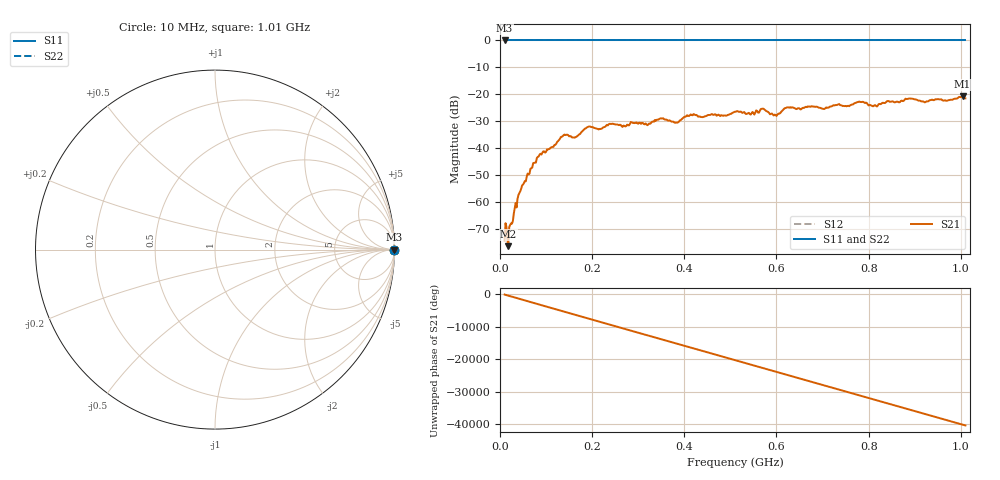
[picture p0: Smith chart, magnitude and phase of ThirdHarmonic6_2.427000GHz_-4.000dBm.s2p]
! 8/17/2025 4:10:36 AM
! C:\ANRITSUVNA\TEMP\TEMP.S2P
! CHANNEL.1
! TR.MEASUREMENT
! RAW.DATA
! RF.CORRECTION.OFF
! AVERAGING.OFF
! IF.BANDWIDTH: 5KHZ
! SWEEPTYPE:  FREQ.SWEEP(Linear)
! Reference Plane Port Info
! PORT:  PORT1  PORT2
! DISTANCE:  0  m  0  m
! TIME:  0  s  0  s
! PHASE.OFFSET:  0  deg.  0  deg.
! LOSS:  0  dB  0  dB
! REF.LOSS:  0  dB  0  dB
! REF.FREQ:  0  Hz  0  Hz
! Power Info
! POWER:  -20  dBm  -20  dBm
! EFF.POWER:  -20  dBm  -20  dBm
! SOURCE.ATTEN:  0  dB  0  dB
! TEST.ATTEN:  0  dB  0  dB
# GHZ S RI R 50.0
! FREQ.GHZ  S11RE  S11IM  S21RE  S21IM  S12RE  S12IM  S22RE  S22IM
!; PortSelection: Port_12
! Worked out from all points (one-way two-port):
!   501 points, 10 MHz to 1.01 GHz, reference 50 ohm
!   highest |S21| = -20.81 dB at 1.004 GHz (marker M1); lowest = -76.4 dB at 18 MHz (marker M2)
!   lowest |S11| = 0.0 dB at 10 MHz (marker M3)
!   |S11| at or under -10 dB: nowhere
!   |S22| runs from 0.0 to 0.0 dB; largest |S21 - S12| = 1.1
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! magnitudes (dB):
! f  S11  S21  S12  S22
! 10 MHz  0.0  -74.2  0.0  0.0
! 18 MHz  0.0  -76.4  0.0  0.0
! 44 MHz  0.0  -56.0  0.0  0.0
! 84 MHz  0.0  -43.1  0.0  0.0
! 136 MHz  0.0  -35.6  0.0  0.0
! 162 MHz  0.0  -36.1  0.0  0.0
! 178 MHz  0.0  -33.8  0.0  0.0
! 192 MHz  0.0  -32.0  0.0  0.0
! 322 MHz  0.0  -31.1  0.0  0.0
! 344 MHz  0.0  -29.4  0.0  0.0
! 382 MHz  0.0  -30.5  0.0  0.0
! 416 MHz  0.0  -27.7  0.0  0.0
! 510 MHz  0.0  -26.5  0.0  0.0
! 570 MHz  0.0  -25.3  0.0  0.0
! 598 MHz  0.0  -27.7  0.0  0.0
! 622 MHz  0.0  -24.9  0.0  0.0
! 678 MHz  0.0  -24.5  0.0  0.0
! 784 MHz  0.0  -22.9  0.0  0.0
! 814 MHz  0.0  -24.0  0.0  0.0
! 844 MHz  0.0  -22.6  0.0  0.0
! 1.004 GHz  0.0  -20.8  0.0  0.0
! 1.01 GHz  0.0  -21.5  0.0  0.0
